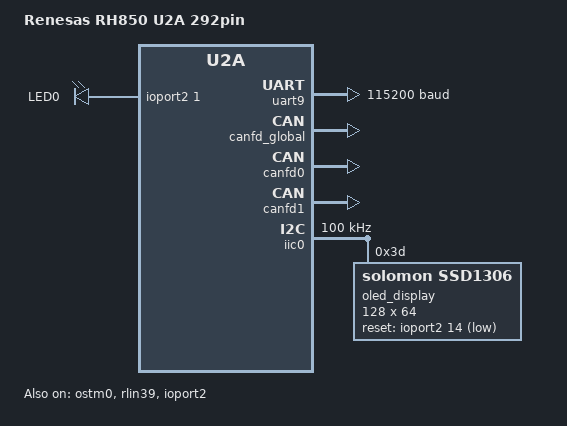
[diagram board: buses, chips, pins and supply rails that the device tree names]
/*
 * Copyright (c) 2026 Renesas Electronics Corporation
 * SPDX-License-Identifier: Apache-2.0
 */

/dts-v1/;

#include <rh850/renesas/rh850u2a/r7f702300xxaba-c.dtsi>
#include <dt-bindings/gpio/gpio.h>
#include <dt-bindings/pwm/pwm.h>

#include "y_ask_rh850u2a-pinctrl.dtsi"

/ {
	model = "Renesas RH850 U2A 292pin";
	compatible = "renesas,y-ask-rh850u2a", "renesas,u2a";

	chosen {
		zephyr,console = &uart9;
		zephyr,shell-uart = &uart9;
		zephyr,sram = &sram0;
		zephyr,flash = &flash0;
		zephyr,system-timer = &ostm0;
		zephyr,canbus = &canfd0;
		zephyr,display = &oled_display;
	};

	aliases {
		led0 = &led0;
	};

	leds {
		compatible = "gpio-leds";

		led0: led0 {
			gpios = <&ioport2 1 GPIO_ACTIVE_HIGH>;
			label = "LED0";
		};
	};
};

&ostm0 {
	status = "okay";

	timer {
		status = "okay";
	};
};

&rlin39 {
	pinctrl-0 = <&rlin39_default>;
	pinctrl-names = "default";
	status = "okay";

	uart9: uart {
		current-speed = <115200>;
		status = "okay";
	};
};

&ioport2 {
	status = "okay";
};

&canfd_global {
	status = "okay";
};

&canfd0 {
	pinctrl-0 = <&canfd0_default>;
	pinctrl-names = "default";
	status = "okay";
	rx-max-filters = <128>;
};

&canfd1 {
	pinctrl-0 = <&canfd1_default>;
	pinctrl-names = "default";
	status = "okay";
	rx-max-filters = <128>;
};

&iic0 {
	pinctrl-0 = <&iic0_default>;
	pinctrl-names = "default";
	clock-frequency = <100000>;
	status = "okay";

	oled_display: display-controller@3d {
		compatible = "solomon,ssd1306";
		reg = <0x3d>;
		width = <128>;
		height = <64>;
		segment-offset = <0>;
		page-offset = <0>;
		display-offset = <0>;
		multiplex-ratio = <63>;
		segment-remap;
		com-invdir;
		inversion-on;
		prechargep = <0x22>;
		reset-gpios = <&ioport2 14 GPIO_ACTIVE_LOW>;
	};
};
